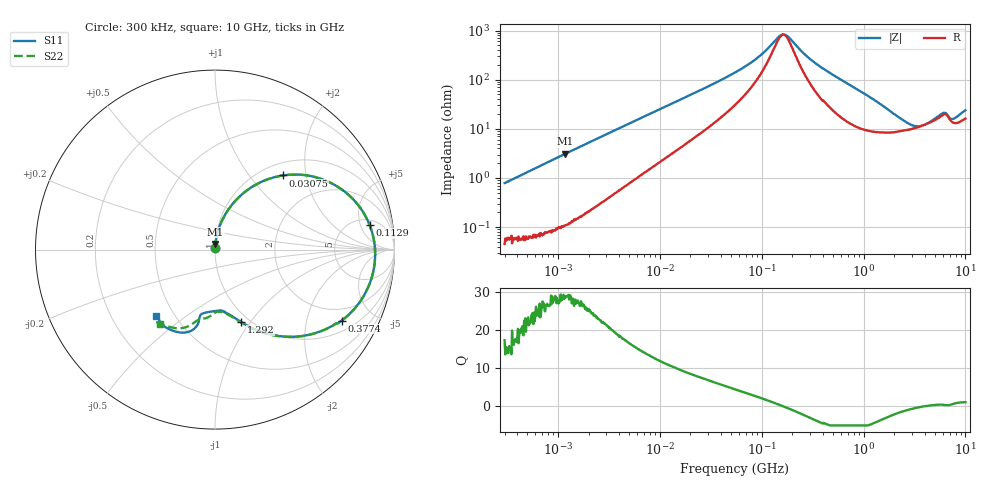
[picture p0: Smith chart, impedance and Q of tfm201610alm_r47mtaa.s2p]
! S-Parameter Data Generated by TDK Corporation
! Copyright(C) 2019 TDK Corporation.
! All Rights Reserved.
! TDK P/N: TFM201610ALM-R47MTAA (Inductor)
! Property: L=470nH at 1MHz
! Size(LxWxT): 2x1.6x1mm
! Model Type: s2p (Touchstone File Format Version 1.0)
! Frequency: DC=Yes Start=0.3MHz Stop=10000MHz 802points Log-sweep
! Model Generated on May 10, 2019
! Port Assignments:
!  1 ---@@@--- 2
! Applicable Conditions:
!  Temperature = 25 degC
!  DC Bias Current = 0 A
!  Small Signal Operation
! Terms and conditions regarding TDK Simulation Models
! (1)This simulation model is being provided solely for informational purposes. Please refer to the specifications of the products in terms of detailed characteristics of such products.
! (2)In no event shall TDK Corporation of any of its subsidiaries be liable for any loss or damage arising, directly or indirectly,
!  From any information contained in this simulation model, including, but not limited to loss or damages arising from any inaccuracies, omissions or errors in connection with such information.
! (3)Any and all copyrights on this simulation model are owned by TDK Corporation.
!  Duplication or redistribution of this simulation model without prior written permission from TDK Corporation is prohibited.
! (4)This simulation model is subject to any modification or change without any prior notice.
! (5)Neither TDK Corporation nor any of its subsidiaries shall make any warranty, express or implied,
!  Including but not limited to the correctness, implied warranties of merchantability and fitness for a particular purpose with respect to this simulation models.
! (6)The use of this simulation model shall be deemed to have consented to the terms and conditions hereof.
# Hz S MA R 50
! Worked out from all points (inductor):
!   801 points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, 300 kHz to 10 GHz, reference 50 ohm
!   read as one part in series: L = 416 nH near 318.3 kHz
!   highest Q = 28.8 at 1.187 MHz (marker M1), where L = 418 nH
!   self-resonance near 163.1 MHz
!   S11 on the Smith chart (normalised r, x): 300 kHz: 1.00, +0.02; 30.75 MHz: 1.23, +1.49; 112.9 MHz: 6.29, +7.22; 377.4 MHz: 1.42, -3.26; 1.292 GHz: 0.91, -0.90; 10 GHz: 0.40, -0.39
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300000  0.007765 86.7  0.9996 -0.5  0.9993 -0.4  0.007926 86.5
1187016  0.03101 86.2  0.9985 -1.8  0.9984 -1.8  0.03108 86.2
1713600  0.04453 85.3  0.9974 -2.6  0.9972 -2.6  0.04456 85.3
9671944  0.2307 71.9  0.9542 -13.4  0.9541 -13.4  0.2306 71.9
1.763281e7  0.3816 61.2  0.8832 -22.5  0.8832 -22.5  0.3816 61.2
3.075078e7  0.5609 47.5  0.7491 -34.0  0.7491 -34.0  0.5608 47.4
5.477226e7  0.7392 30.6  0.5306 -46.8  0.5306 -46.8  0.7392 30.5
8.153051e7  0.8276 18.6  0.354 -52.5  0.3539 -52.5  0.8277 18.6
1.128912e8  0.8724 9.0  0.2108 -49.0  0.2108 -49.0  0.8724 9.0
1.473106e8  0.8904 1.2  0.1192 -23.4  0.1192 -23.4  0.8903 1.2
1.6757e8  0.893 -2.7  0.1078 4.5  0.1078 4.5  0.8929 -2.7
3.126428e8  0.8456 -22.7  0.3419 50.4  0.3419 50.4  0.8455 -22.8
3.7738e8  0.8091 -29.2  0.4331 47.7  0.433 47.7  0.8091 -29.3
6.738867e8  0.6363 -49.8  0.6783 31.3  0.6782 31.3  0.6366 -49.9
1.292013e9  0.4285 -70.2  0.8317 10.0  0.8315 10.0  0.4297 -70.4
1.767019e9  0.3664 -78.2  0.8566 0.1  0.8565 0.0  0.3688 -78.8
2.659614e9  0.3408 -87.8  0.8545 -12.4  0.8544 -12.4  0.3465 -88.1
3.991169e9  0.3589 -99.9  0.8201 -25.9  0.82 -26.0  0.3746 -94.7
5.849356e9  0.4076 -102.7  0.7435 -40.6  0.7434 -40.7  0.4102 -104.5
6.899057e9  0.4959 -111.3  0.7068 -44.8  0.7067 -44.8  0.489 -116.5
8.211115e9  0.5109 -124.5  0.7028 -54.7  0.7027 -54.8  0.5185 -127.6
1e10  0.4927 -131.8  0.667 -65.4  0.6669 -65.5  0.518 -126.5
